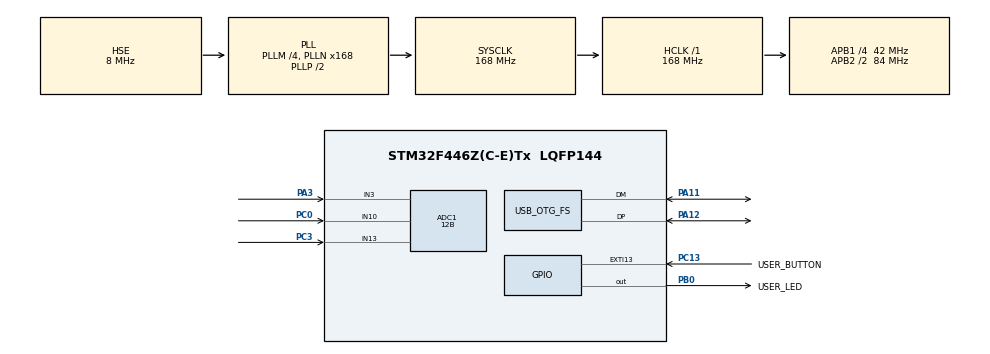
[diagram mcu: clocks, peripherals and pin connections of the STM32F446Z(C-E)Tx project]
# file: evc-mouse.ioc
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ADC1.Channel-3\#ChannelRegularConversion=ADC_CHANNEL_3
ADC1.Channel-4\#ChannelRegularConversion=ADC_CHANNEL_10
ADC1.Channel-5\#ChannelRegularConversion=ADC_CHANNEL_13
ADC1.ClockPrescaler=ADC_CLOCK_SYNC_PCLK_DIV8
ADC1.ContinuousConvMode=ENABLE
ADC1.DMAContinuousRequests=ENABLE
ADC1.NbrOfConversion=3
ADC1.NbrOfConversionFlag=1
ADC1.Rank-3\#ChannelRegularConversion=1
ADC1.Rank-4\#ChannelRegularConversion=2
ADC1.Rank-5\#ChannelRegularConversion=3
ADC1.Resolution=ADC_RESOLUTION_12B
ADC1.SamplingTime-3\#ChannelRegularConversion=ADC_SAMPLETIME_3CYCLES
ADC1.SamplingTime-4\#ChannelRegularConversion=ADC_SAMPLETIME_3CYCLES
ADC1.SamplingTime-5\#ChannelRegularConversion=ADC_SAMPLETIME_3CYCLES
ADC1.ScanConvMode=ENABLE
ADC1.master=1
Dma.ADC1.0.Direction=DMA_PERIPH_TO_MEMORY
Dma.ADC1.0.FIFOMode=DMA_FIFOMODE_DISABLE
Dma.ADC1.0.Instance=DMA2_Stream0
Dma.ADC1.0.MemDataAlignment=DMA_MDATAALIGN_WORD
Dma.ADC1.0.MemInc=DMA_MINC_ENABLE
Dma.ADC1.0.Mode=DMA_CIRCULAR
Dma.ADC1.0.PeriphDataAlignment=DMA_PDATAALIGN_WORD
Dma.ADC1.0.PeriphInc=DMA_PINC_DISABLE
Dma.ADC1.0.Priority=DMA_PRIORITY_LOW
Dma.Request0=ADC1
Mcu.Family=STM32F4
Mcu.Name=STM32F446Z(C-E)Tx
Mcu.Package=LQFP144
NVIC.DMA2_Stream0_IRQn=true\:0\:0\:false\:false\:true\:false\:true\:true
NVIC.OTG_FS_IRQn=true\:0\:0\:false\:false\:true\:false\:true\:true
NVIC.PriorityGroup=NVIC_PRIORITYGROUP_4
NVIC.TIM1_UP_TIM10_IRQn=true\:0\:0\:false\:false\:true\:true\:true\:true
PA11.Mode=Device_Only
PA11.Signal=USB_OTG_FS_DM
PA12.Mode=Device_Only
PA12.Signal=USB_OTG_FS_DP
PA13.Mode=Serial_Wire
PA13.Signal=SYS_JTMS-SWDIO
PA14.Mode=Serial_Wire
PA14.Signal=SYS_JTCK-SWCLK
PA3.Signal=ADCx_IN3
PB0.GPIO_Label=USER_LED
PB0.Signal=GPIO_Output
PC0.Signal=ADCx_IN10
PC13.GPIO_Label=USER_BUTTON
PC13.Signal=GPXTI13
PC3.Signal=ADCx_IN13
PH0-OSC_IN.Mode=HSE-External-Oscillator
PH0-OSC_IN.Signal=RCC_OSC_IN
PH1-OSC_OUT.Mode=HSE-External-Oscillator
PH1-OSC_OUT.Signal=RCC_OSC_OUT
ProjectManager.HeapSize=0x200
ProjectManager.StackSize=0x400
ProjectManager.TargetToolchain=STM32CubeIDE
RCC.48MHZClocksFreq_Value=24000000
RCC.AHBFreq_Value=168000000
RCC.APB1CLKDivider=RCC_HCLK_DIV4
RCC.APB1Freq_Value=42000000
RCC.APB1TimFreq_Value=84000000
RCC.APB2CLKDivider=RCC_HCLK_DIV2
RCC.APB2Freq_Value=84000000
RCC.APB2TimFreq_Value=168000000
RCC.CortexFreq_Value=168000000
RCC.HCLKFreq_Value=168000000
RCC.HSE_VALUE=8000000
RCC.HSI_VALUE=16000000
RCC.LSE_VALUE=32768
RCC.PLLM=4
RCC.PLLMUL=RCC_PLL_MUL9
RCC.PLLN=168
RCC.PLLQ=7
RCC.PLLSourceVirtual=RCC_PLLSOURCE_HSE
RCC.PRESCALERUSB=RCC_USBCLKSOURCE_PLL_DIV1_5
RCC.SYSCLKFreq_VALUE=168000000
RCC.SYSCLKSource=RCC_SYSCLKSOURCE_PLLCLK
RCC.SYSCLKSourceVirtual=RCC_SYSCLKSOURCE_PLLCLK
RCC.USBFreq_Value=48000000
RCC.VCOOutputFreq_Value=336000000
SH.ADCx_IN10.0=ADC1_IN10,IN10
SH.ADCx_IN13.0=ADC1_IN13,IN13
SH.ADCx_IN3.0=ADC1_IN3,IN3
TIM10.Prescaler=16700
USB_DEVICE.CLASS_NAME_FS=CUSTOM_HID
USB_DEVICE.CUSTOM_HID_FS_BINTERVAL=5
USB_DEVICE.MANUFACTURER_STRING-CUSTOM_HID_FS=Justin Jradi
USB_DEVICE.PRODUCT_STRING_CUSTOMHID_FS=EVC Mouse
USB_DEVICE.USBD_CUSTOMHID_OUTREPORT_BUF_SIZE-CUSTOM_HID_FS=2
USB_DEVICE.USBD_CUSTOM_HID_REPORT_DESC_SIZE-CUSTOM_HID_FS=64
USB_DEVICE.VirtualMode-CUSTOM_HID_FS=CustomHid
USB_DEVICE.VirtualModeFS=Custom_Hid_FS
USB_OTG_FS.VirtualMode=Device_Only
VP_TIM10_VS_ClockSourceINT.Mode=Enable_Timer
VP_USB_DEVICE_VS_USB_DEVICE_CUSTOM_HID_FS.Mode=CUSTOM_HID_FS
board=NUCLEO-F446ZE

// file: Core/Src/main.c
/* USER CODE BEGIN Header */
/**
  ******************************************************************************
  * @file           : main.c
  * @brief          : Main program body
  ******************************************************************************
  * @attention
  *
  * Copyright (c) 2024 STMicroelectronics.
  * All rights reserved.
  *
  * This software is licensed under terms that can be found in the LICENSE file
  * in the root directory of this software component.
  * If no LICENSE file comes with this software, it is provided AS-IS.
  *
  ******************************************************************************
  */
/* USER CODE END Header */
#include "main.h"
#include "usb_device.h"

/* USER CODE BEGIN Includes */
extern uint8_t getScrollRes(void);
extern uint8_t getPanRes(void);
/* USER CODE END Includes */

ADC_HandleTypeDef hadc1;
DMA_HandleTypeDef hdma_adc1;

TIM_HandleTypeDef htim10;

/* USER CODE BEGIN PV */
int tim10_overflow;
/* USER CODE END PV */

void SystemClock_Config(void);
static void MX_GPIO_Init(void);
static void MX_DMA_Init(void);
static void MX_ADC1_Init(void);
static void MX_TIM10_Init(void);

/* USER CODE BEGIN 0 */
uint32_t adc1_buffer[3];
ViewportReport r = {0};
/* USER CODE END 0 */

int main(void)
{

  /* MCU Configuration--------------------------------------------------------*/

  /* Reset of all peripherals, Initializes the Flash interface and the Systick. */
  HAL_Init();

  /* Configure the system clock */
  SystemClock_Config();

  /* Initialize all configured peripherals */
  MX_GPIO_Init();
  MX_DMA_Init();
  MX_USB_DEVICE_Init();
  MX_ADC1_Init();
  MX_TIM10_Init();
  /* USER CODE BEGIN 2 */
  HAL_ADC_Start_DMA(&hadc1, adc1_buffer, 3);
  int user_button_switch = 0;
  MouseReport mouseReport = {0};
  uint8_t scroll_resolution = 0;
  uint8_t pan_resolution = 0;
  /* USER CODE END 2 */

  /* Infinite loop */
  /* USER CODE BEGIN WHILE */
	while (1)
	{
		if (HAL_GPIO_ReadPin(USER_BUTTON_GPIO_Port, USER_BUTTON_Pin))
		{
			user_button_switch ^= 1;
			while (HAL_GPIO_ReadPin(USER_BUTTON_GPIO_Port, USER_BUTTON_Pin));
		}

		if (user_button_switch)
		{
			scroll_resolution = getScrollRes();
			pan_resolution = getPanRes();
			HAL_GPIO_WritePin(USER_LED_GPIO_Port, USER_LED_Pin, GPIO_PIN_SET);
			mouseReport.scroll = calculate_vector(adc1_buffer[0]);
			mouseReport.pan = calculate_vector(adc1_buffer[1]);
			send_mouse_report(mouseReport);
			HAL_Delay(10);
		}
		else
		{
			HAL_GPIO_WritePin(USER_LED_GPIO_Port, USER_LED_Pin, GPIO_PIN_RESET);
		}

    /* USER CODE END WHILE */

  }
}

void SystemClock_Config(void)
{
  RCC_OscInitTypeDef RCC_OscInitStruct = {0};
  RCC_ClkInitTypeDef RCC_ClkInitStruct = {0};

  /** Configure the main internal regulator output voltage
  */
  __HAL_RCC_PWR_CLK_ENABLE();
  __HAL_PWR_VOLTAGESCALING_CONFIG(PWR_REGULATOR_VOLTAGE_SCALE1);

  /** Initializes the RCC Oscillators according to the specified parameters
  * in the RCC_OscInitTypeDef structure.
  */
  RCC_OscInitStruct.OscillatorType = RCC_OSCILLATORTYPE_HSE;
  RCC_OscInitStruct.HSEState = RCC_HSE_ON;
  RCC_OscInitStruct.PLL.PLLState = RCC_PLL_ON;
  RCC_OscInitStruct.PLL.PLLSource = RCC_PLLSOURCE_HSE;
  RCC_OscInitStruct.PLL.PLLM = 4;
  RCC_OscInitStruct.PLL.PLLN = 168;
  RCC_OscInitStruct.PLL.PLLP = RCC_PLLP_DIV2;
  RCC_OscInitStruct.PLL.PLLQ = 7;
  RCC_OscInitStruct.PLL.PLLR = 2;
  if (HAL_RCC_OscConfig(&RCC_OscInitStruct) != HAL_OK)
  {
    Error_Handler();
  }

  /** Initializes the CPU, AHB and APB buses clocks
  */
  RCC_ClkInitStruct.ClockType = RCC_CLOCKTYPE_HCLK|RCC_CLOCKTYPE_SYSCLK
                              |RCC_CLOCKTYPE_PCLK1|RCC_CLOCKTYPE_PCLK2;
  RCC_ClkInitStruct.SYSCLKSource = RCC_SYSCLKSOURCE_PLLCLK;
  RCC_ClkInitStruct.AHBCLKDivider = RCC_SYSCLK_DIV1;
  RCC_ClkInitStruct.APB1CLKDivider = RCC_HCLK_DIV4;
  RCC_ClkInitStruct.APB2CLKDivider = RCC_HCLK_DIV2;

  if (HAL_RCC_ClockConfig(&RCC_ClkInitStruct, FLASH_LATENCY_5) != HAL_OK)
  {
    Error_Handler();
  }
}

static void MX_ADC1_Init(void)
{

  ADC_ChannelConfTypeDef sConfig = {0};

  /** Configure the global features of the ADC (Clock, Resolution, Data Alignment and number of conversion)
  */
  hadc1.Instance = ADC1;
  hadc1.Init.ClockPrescaler = ADC_CLOCK_SYNC_PCLK_DIV8;
  hadc1.Init.Resolution = ADC_RESOLUTION_12B;
  hadc1.Init.ScanConvMode = ENABLE;
  hadc1.Init.ContinuousConvMode = ENABLE;
  hadc1.Init.DiscontinuousConvMode = DISABLE;
  hadc1.Init.ExternalTrigConvEdge = ADC_EXTERNALTRIGCONVEDGE_NONE;
  hadc1.Init.ExternalTrigConv = ADC_SOFTWARE_START;
  hadc1.Init.DataAlign = ADC_DATAALIGN_RIGHT;
  hadc1.Init.NbrOfConversion = 3;
  hadc1.Init.DMAContinuousRequests = ENABLE;
  hadc1.Init.EOCSelection = ADC_EOC_SINGLE_CONV;
  if (HAL_ADC_Init(&hadc1) != HAL_OK)
  {
    Error_Handler();
  }

  /** Configure for the selected ADC regular channel its corresponding rank in the sequencer and its sample time.
  */
  sConfig.Channel = ADC_CHANNEL_3;
  sConfig.Rank = 1;
  sConfig.SamplingTime = ADC_SAMPLETIME_3CYCLES;
  if (HAL_ADC_ConfigChannel(&hadc1, &sConfig) != HAL_OK)
  {
    Error_Handler();
  }

  /** Configure for the selected ADC regular channel its corresponding rank in the sequencer and its sample time.
  */
  sConfig.Channel = ADC_CHANNEL_10;
  sConfig.Rank = 2;
  if (HAL_ADC_ConfigChannel(&hadc1, &sConfig) != HAL_OK)
  {
    Error_Handler();
  }

  /** Configure for the selected ADC regular channel its corresponding rank in the sequencer and its sample time.
  */
  sConfig.Channel = ADC_CHANNEL_13;
  sConfig.Rank = 3;
  if (HAL_ADC_ConfigChannel(&hadc1, &sConfig) != HAL_OK)
  {
    Error_Handler();
  }

}

static void MX_TIM10_Init(void)
{

  htim10.Instance = TIM10;
  htim10.Init.Prescaler = 16700;
  htim10.Init.CounterMode = TIM_COUNTERMODE_UP;
  htim10.Init.Period = 65535;
  htim10.Init.ClockDivision = TIM_CLOCKDIVISION_DIV1;
  htim10.Init.AutoReloadPreload = TIM_AUTORELOAD_PRELOAD_DISABLE;
  if (HAL_TIM_Base_Init(&htim10) != HAL_OK)
  {
    Error_Handler();
  }

}

static void MX_DMA_Init(void)
{

  /* DMA controller clock enable */
  __HAL_RCC_DMA2_CLK_ENABLE();

  /* DMA interrupt init */
  /* DMA2_Stream0_IRQn interrupt configuration */
  HAL_NVIC_SetPriority(DMA2_Stream0_IRQn, 0, 0);
  HAL_NVIC_EnableIRQ(DMA2_Stream0_IRQn);

}

static void MX_GPIO_Init(void)
{
  GPIO_InitTypeDef GPIO_InitStruct = {0};

  /* GPIO Ports Clock Enable */
  __HAL_RCC_GPIOC_CLK_ENABLE();
  __HAL_RCC_GPIOH_CLK_ENABLE();
  __HAL_RCC_GPIOA_CLK_ENABLE();
  __HAL_RCC_GPIOB_CLK_ENABLE();

  /*Configure GPIO pin Output Level */
  HAL_GPIO_WritePin(USER_LED_GPIO_Port, USER_LED_Pin, GPIO_PIN_RESET);

  /*Configure GPIO pin : USER_BUTTON_Pin */
  GPIO_InitStruct.Pin = USER_BUTTON_Pin;
  GPIO_InitStruct.Mode = GPIO_MODE_IT_RISING;
  GPIO_InitStruct.Pull = GPIO_NOPULL;
  HAL_GPIO_Init(USER_BUTTON_GPIO_Port, &GPIO_InitStruct);

  /*Configure GPIO pin : USER_LED_Pin */
  GPIO_InitStruct.Pin = USER_LED_Pin;
  GPIO_InitStruct.Mode = GPIO_MODE_OUTPUT_PP;
  GPIO_InitStruct.Pull = GPIO_NOPULL;
  GPIO_InitStruct.Speed = GPIO_SPEED_FREQ_LOW;
  HAL_GPIO_Init(USER_LED_GPIO_Port, &GPIO_InitStruct);

}

/* USER CODE BEGIN 4 */
void HAL_TIM_PeriodElapsedCallback(TIM_HandleTypeDef *htim)
{
	if (htim == &htim10)
	{
		tim10_overflow = 1;
	}
}

void tim10_clear(void)
{
	TIM10->CNT = 0;
	tim10_overflow = 0;
}

uint16_t tim10_tick(void)
{
	return __HAL_TIM_GET_COUNTER(&htim10);
}

void tim10_wait(uint16_t delay)
{
	while ((tim10_tick() < delay) && !tim10_overflow);
	tim10_clear();
}

// Actual adc_value must be 12 bits in resolution
int8_t calculate_vector(uint32_t adc_value)
{
	int8_t v = (int8_t)(((adc_value & 0x00000FFF) >> 4) - 128);
	if (v == -128) v = 127;
	else v *= -1;

	if (v < -125) return -100;
	else if (v < -95) return -60;
	else if (v < -65) return -30;
	else if (v < -40) return -5;
	else if (v < -15) return -1;

	else if (v > 125) return 100;
	else if (v > 95) return 60;
	else if (v > 65) return 30;
	else if (v > 40) return 5;
	else if (v > 15) return 1;

	else return 0;
}

/* USER CODE END 4 */

void Error_Handler(void)
{
  __disable_irq();
  while (1)
  {
  }
}
